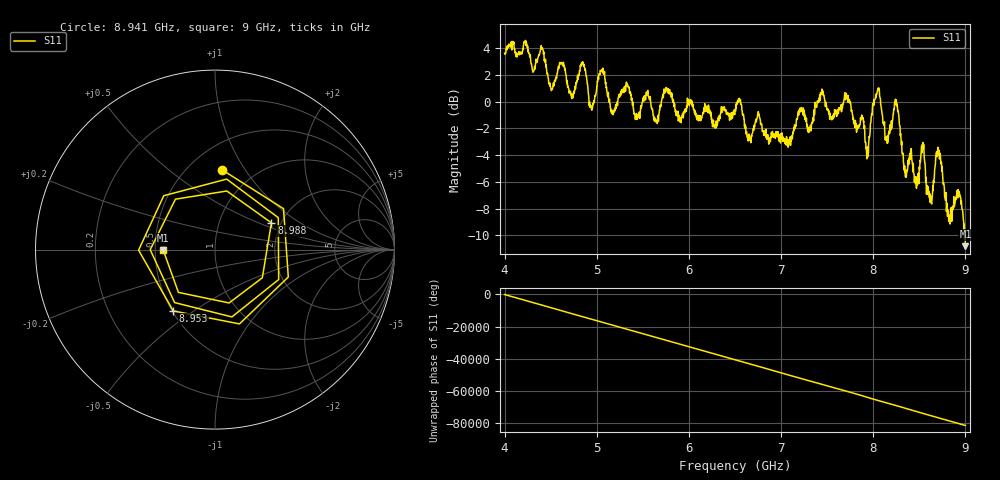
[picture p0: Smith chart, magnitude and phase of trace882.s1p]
! Created with skrf 1.8.0 (http://scikit-rf.org).
# Hz S RI R 50.0
!freq ReS11 ImS11
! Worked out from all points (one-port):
!   1601 points, 4 GHz to 9 GHz, reference 50 ohm
!   lowest |S11| = -10.8 dB at 9 GHz (marker M1), VSWR 1.81, Z = 27.6 - j0.254 ohm
!   |S11| at or under -10 dB: 8.990284 GHz to end of sweep
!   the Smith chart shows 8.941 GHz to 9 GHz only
!   S11 on the Smith chart (normalised r, x): 8.941 GHz: 0.71, +0.79; 8.953 GHz: 0.51, -0.42; 8.988 GHz: 1.78, +0.61; 9 GHz: 0.55, -0.01
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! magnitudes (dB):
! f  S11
! 4 GHz  3.6
! 4.403 GHz  4.0
! 4.509 GHz  0.8
! 4.625 GHz  2.9
! 4.725 GHz  0.4
! 4.853 GHz  2.8
! 4.941 GHz  -0.4
! 5.05 GHz  2.2
! 5.166 GHz  -0.9
! 5.25 GHz  0.4
! 5.875 GHz  -0.9
! 6.5 GHz  -0.7
! 7.125 GHz  -2.6
! 7.444 GHz  0.9
! 7.75 GHz  0.0
! 7.934 GHz  -3.9
! 8.041 GHz  0.6
! 8.15 GHz  -3.1
! 8.25 GHz  0.1
! 8.375 GHz  -4.9
! 8.538 GHz  -3.6
! 8.625 GHz  -7.3
! 8.706 GHz  -3.6
! 8.819 GHz  -9.0
! 8.941 GHz  -7.0
! 8.953 GHz  -7.7
! 8.988 GHz  -9.2
! 9 GHz  -10.8
